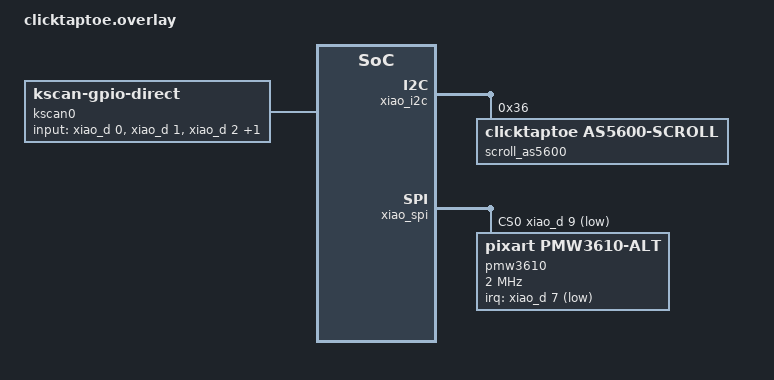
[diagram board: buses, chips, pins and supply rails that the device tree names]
#include <dt-bindings/zmk/matrix_transform.h>
#include <zephyr/dt-bindings/input/input-event-codes.h>
#include <zephyr/dt-bindings/pinctrl/nrf-pinctrl.h>

/ {
    chosen {
        zmk,physical-layout = &physical_layout0;
    };

    kscan0: kscan {
        compatible = "zmk,kscan-gpio-direct";
        wakeup-source;
        debounce-press-ms = <5>;
        debounce-release-ms = <5>;

        /* Yamaha-style pedals short to GND at rest and open when pressed. */
        input-gpios = <
            &xiao_d 0 (GPIO_PULL_UP | GPIO_ACTIVE_HIGH) /* D0 */
            &xiao_d 1 (GPIO_PULL_UP | GPIO_ACTIVE_HIGH) /* D1 */
            &xiao_d 2 (GPIO_PULL_UP | GPIO_ACTIVE_HIGH) /* D2 / future footswitch/TTS/spare */
            &xiao_d 3 (GPIO_PULL_UP | GPIO_ACTIVE_HIGH) /* D3 / future footswitch/TTS/spare */
        >;
    };

    default_transform: matrix_transform {
        compatible = "zmk,matrix-transform";
        rows = <1>;
        columns = <4>;
        map = <RC(0,0) RC(0,1) RC(0,2) RC(0,3)>;
    };

    physical_layout0: physical_layout_0 {
        compatible = "zmk,physical-layout";
        display-name = "Default";
        kscan = <&kscan0>;
        transform = <&default_transform>;
    };

    sensors: sensors {
        compatible = "zmk,keymap-sensors";
        sensors = <&scroll_as5600>;
        triggers-per-rotation = <24>;
    };

    pmw3610_listener: pmw3610_listener {
        compatible = "zmk,input-listener";
        device = <&pmw3610>;
    };
};

/* D6 is routed to PMW3610 nRESET; this diagnostic firmware uses the original SPI reset path. */

&xiao_i2c {
    status = "okay";

    scroll_as5600: as5600_scroll@36 {
        compatible = "clicktaptoe,as5600-scroll";
        reg = <0x36>;
        poll-ms = <8>;
        deadband = <0>;
        status = "okay";
    };
};

&spi2_default {
    group1 {
        psels = <NRF_PSEL(SPIM_SCK, 1, 13)>,  /* D8 */
            <NRF_PSEL(SPIM_MOSI, 1, 15)>,     /* D10 / PMW3610 SDIO */
            <NRF_PSEL(SPIM_MISO, 1, 15)>;     /* D10 / PMW3610 SDIO */
    };
};

&spi2_sleep {
    group1 {
        psels = <NRF_PSEL(SPIM_SCK, 1, 13)>,  /* D8 */
            <NRF_PSEL(SPIM_MOSI, 1, 15)>,     /* D10 / PMW3610 SDIO */
            <NRF_PSEL(SPIM_MISO, 1, 15)>;     /* D10 / PMW3610 SDIO */
        low-power-enable;
    };
};

&xiao_spi {
    compatible = "nordic,nrf-spim";
    status = "okay";
    pinctrl-0 = <&spi2_default>;
    pinctrl-1 = <&spi2_sleep>;
    pinctrl-names = "default", "sleep";
    cs-gpios = <&xiao_d 9 GPIO_ACTIVE_LOW>; /* D9 / PMW3610 nCS */

    pmw3610: pmw3610@0 {
        compatible = "pixart,pmw3610-alt";
        status = "okay";
        reg = <0>;
        spi-max-frequency = <2000000>;
        irq-gpios = <&xiao_d 7 (GPIO_ACTIVE_LOW | GPIO_PULL_UP)>; /* D7 / PMW3610 MOT */
        cpi = <600>;
        swap-xy;
        invert-y;
        evt-type = <INPUT_EV_REL>;
        x-input-code = <INPUT_REL_X>;
        y-input-code = <INPUT_REL_Y>;
    };
};
